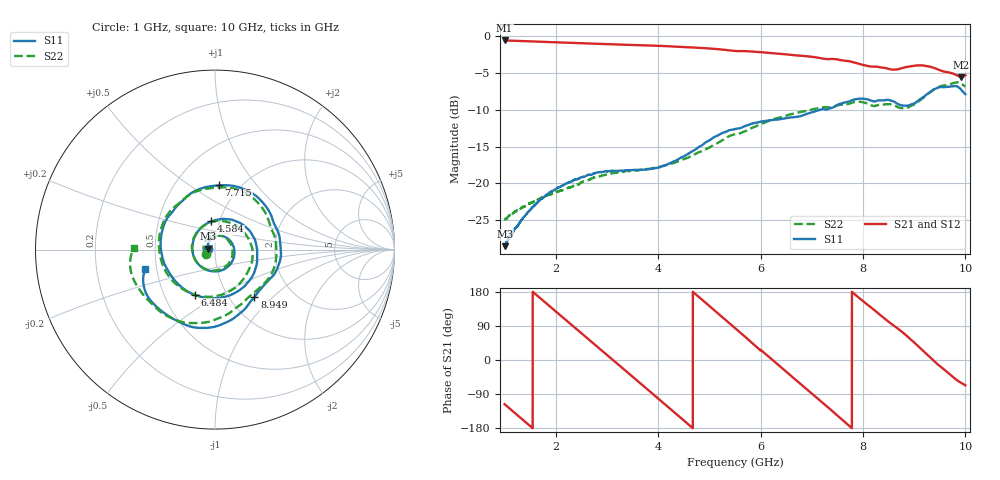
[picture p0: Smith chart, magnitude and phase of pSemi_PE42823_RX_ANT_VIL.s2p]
# Hz S RI R 50
! CMT, C4220, 17028609, 19.4.3/2
! Date: 4/22/2020 1:44:20 PM
! Data: Format (Calibration Info)
! Freq	S11:Re/Im(F2)	S21:Re/Im(F2)	S12:Re/Im(F2)	S22:Re/Im(F2)
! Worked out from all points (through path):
!   9001 points, 1 GHz to 10 GHz, reference 50 ohm
!   highest |S21| = -0.61 dB at 1 GHz (marker M1); lowest = -5.6 dB at 9.917 GHz (marker M2)
!   group delay of S21, straight-line fit = 320 ps
!   lowest |S11| = -28.5 dB at 1.001 GHz (marker M3), VSWR 1.08, Z = 46.4 + j0.416 ohm
!   |S11| at or under -10 dB: start of sweep to 7.168 GHz; 7.279877 GHz to 7.280142 GHz (265.1 kHz wide, 0.00364 % of centre)
!   |S22| runs from -24.9 to -6.3 dB; largest |S21 - S12| = 0.038
!   S11 on the Smith chart (normalised r, x): 1 GHz: 0.93, +0.01; 4.584 GHz: 0.92, +0.30; 6.484 GHz: 0.71, -0.39; 7.715 GHz: 0.80, +0.66; 8.949 GHz: 1.30, -0.78; 10 GHz: 0.43, -0.11
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1e9  -0.0373 0.00434  -0.4173 -0.833  -0.4139 -0.8354  -0.0521 -0.0233
1.001e9  -0.0372 0.00448  -0.419 -0.8321  -0.4158 -0.8348  -0.0522 -0.0233
1.36e9  -0.03 0.05  -0.8572 -0.3404  -0.8555 -0.3474  -0.0596 0.0349
1.675e9  0.0085 0.0756  -0.8849 0.2289  -0.886 0.2274  -0.017 0.0763
2.114e9  0.0786 0.055  -0.3804 0.8178  -0.3835 0.8171  0.0714 0.0545
2.5e9  0.1089 -0.0164  0.2966 0.8412  0.2943 0.8421  0.097 -0.0299
2.871e9  0.0749 -0.093  0.7784 0.4158  0.7785 0.417  0.0482 -0.1011
3.198e9  -0.00156 -0.1216  0.863 -0.1426  0.8638 -0.1438  -0.0245 -0.1163
3.63e9  -0.1019 -0.07  0.4437 -0.7427  0.4445 -0.7433  -0.1032 -0.0668
4e9  -0.1244 0.0293  -0.1758 -0.8385  -0.1763 -0.839  -0.1286 0.0104
4.584e9  -0.0198 0.1572  -0.8245 -0.1562  -0.8269 -0.1465  -0.0486 0.1413
5.109e9  0.1506 0.1421  -0.5211 0.6281  -0.5169 0.6324  0.1457 0.1126
5.5e9  0.2333 0.00905  0.0779 0.7869  0.0749 0.7883  0.2066 -0.0629
6.045e9  0.1434 -0.2212  0.7182 0.288  0.7223 0.2773  0.0274 -0.2542
6.484e9  -0.1097 -0.2533  0.6571 -0.3639  0.6516 -0.3747  -0.1984 -0.2073
7e9  -0.3031 0.0177  0.0135 -0.7215  0.00213 -0.7218  -0.3119 0.0554
7.715e9  0.0217 0.3578  -0.6682 -0.0969  -0.6698 -0.0855  0.0142 0.3453
8.5e9  0.364 -0.0549  -0.1121 0.588  -0.1015 0.5904  0.3324 -0.0907
8.949e9  0.2199 -0.2648  0.3809 0.4943  0.3905 0.4858  0.1513 -0.3006
9.354e9  0.00712 -0.4274  0.6126 0.0138  0.6133 0.000503  -0.1129 -0.4092
9.917e9  -0.4005 -0.163  0.2616 -0.4556  0.2515 -0.4613  -0.4717 -0.0551
1e10  -0.3875 -0.1099  0.2122 -0.4978  0.2014 -0.5026  -0.4532 0.0107
